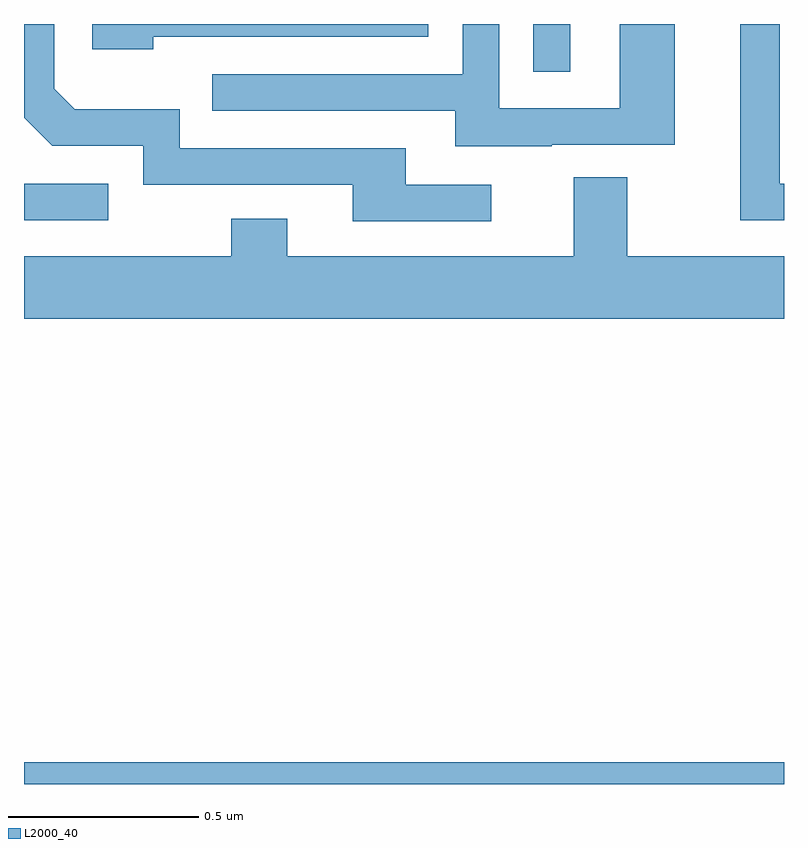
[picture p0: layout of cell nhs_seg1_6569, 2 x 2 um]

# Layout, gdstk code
import gdstk
lib = gdstk.Library(unit=1e-6, precision=1e-09)
def R(c, l, rs):  # rectangles x0, y0, x1, y1
    for r in rs: c.add(gdstk.rectangle(r[:2], r[2:], *l))
def P(c, l, *ps):  # polygons
    for p in ps: c.add(gdstk.Polygon(p, *l))
L2000_40 = (2000, 40)

nhs_seg1_6569 = lib.new_cell('nhs_seg1_6569')
R(nhs_seg1_6569, L2000_40, [(193,525.199,195,525.256), (193,526.683,193.222,526.779), (194.34,527.073,194.437,527.199)])
P(nhs_seg1_6569, L2000_40, [(193.34,527.166),(194.064,527.166),(194.064,527.199),(193.179,527.199),(193.179,527.132),(193.34,527.132)],
  [(194.389,526.881),(194.713,526.881),(194.713,527.199),(194.568,527.199),(194.568,526.977),(194.25,526.977),(194.25,527.199),(194.154,527.199),(194.154,527.067),(193.495,527.067),(193.495,526.971),(194.135,526.971),(194.135,526.877),(194.389,526.877)],
  [(194.23,526.776),(194.005,526.776),(194.005,526.872),(193.41,526.872),(193.41,526.975),(193.133,526.975),(193.08,527.028),(193.08,527.199),(193,527.199),(193,526.952),(193.074,526.878),(193.314,526.878),(193.314,526.776),(193.865,526.776),(193.865,526.68),(194.23,526.68)],
  [(195,526.779),(194.989,526.779),(194.989,527.199),(194.885,527.199),(194.885,526.683),(195,526.683)],
  [(195,526.588),(194.587,526.588),(194.587,526.796),(194.447,526.796),(194.447,526.588),(193.693,526.588),(193.693,526.687),(193.546,526.687),(193.546,526.588),(193,526.588),(193,526.424),(195,526.424)])

lib.write_gds('nhs_seg1_6569.gds')
